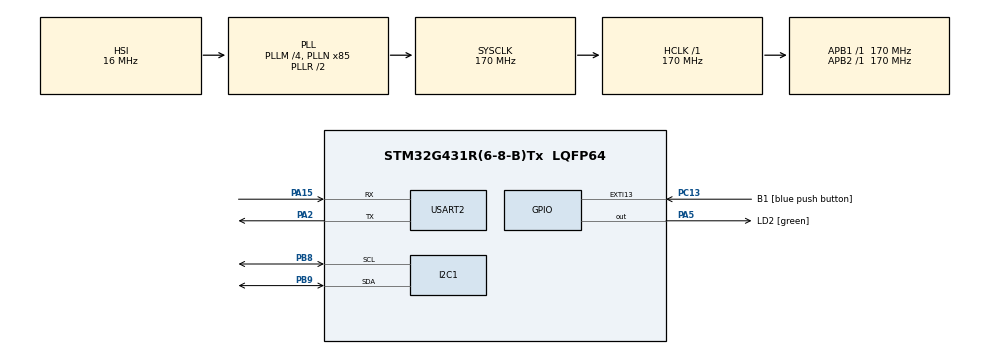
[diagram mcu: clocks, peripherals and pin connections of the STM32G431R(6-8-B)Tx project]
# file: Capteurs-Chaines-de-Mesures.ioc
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FREERTOS.Tasks01=defaultTask,0,128,StartDefaultTask,Default,NULL,Dynamic,NULL,NULL
I2C1.Timing=0x30A0A7FB
Mcu.Family=STM32G4
Mcu.Name=STM32G431R(6-8-B)Tx
Mcu.Package=LQFP64
NVIC.PriorityGroup=NVIC_PRIORITYGROUP_4
PA13.GPIO_Label=T_SWDIO
PA13.Signal=SYS_JTMS-SWDIO
PA14.GPIO_Label=T_SWCLK
PA14.Signal=SYS_JTCK-SWCLK
PA15.Mode=Asynchronous
PA15.Signal=USART2_RX
PA2.Mode=Asynchronous
PA2.Signal=USART2_TX
PA3.GPIO_Label=LPUART1_RX [STLINKV3E_VCP_TX]
PA3.Signal=LPUART1_RX
PA5.GPIO_Label=LD2 [green]
PA5.Signal=GPIO_Output
PB3.GPIO_Label=T_SWO
PB3.Signal=SYS_JTDO-SWO
PB8-BOOT0.Mode=I2C
PB8-BOOT0.Signal=I2C1_SCL
PB9.Mode=I2C
PB9.Signal=I2C1_SDA
PC13.GPIO_Label=B1 [blue push button]
PC13.Signal=GPXTI13
PC14-OSC32_IN.Signal=RCC_OSC32_IN
PC15-OSC32_OUT.Signal=RCC_OSC32_OUT
PF0-OSC_IN.Signal=RCC_OSC_IN
PF1-OSC_OUT.Signal=RCC_OSC_OUT
ProjectManager.HeapSize=0x200
ProjectManager.StackSize=0x400
ProjectManager.TargetToolchain=STM32CubeIDE
RCC.ADC12Freq_Value=170000000
RCC.AHBFreq_Value=170000000
RCC.APB1Freq_Value=170000000
RCC.APB1TimFreq_Value=170000000
RCC.APB2Freq_Value=170000000
RCC.APB2TimFreq_Value=170000000
RCC.CortexFreq_Value=170000000
RCC.EXTERNAL_CLOCK_VALUE=12288000
RCC.HCLKFreq_Value=170000000
RCC.HSE_VALUE=24000000
RCC.HSI48_VALUE=48000000
RCC.HSI_VALUE=16000000
RCC.LSE_VALUE=32768
RCC.PLLM=RCC_PLLM_DIV4
RCC.PLLN=85
RCC.RTCClockSelection=RCC_RTCCLKSOURCE_LSE
RCC.SYSCLKFreq_VALUE=170000000
RCC.SYSCLKSource=RCC_SYSCLKSOURCE_PLLCLK
RCC.USBFreq_Value=170000000
RCC.VCOOutputFreq_Value=340000000
USART2.VirtualMode-Asynchronous=VM_ASYNC
VP_FREERTOS_VS_CMSIS_V1.Mode=CMSIS_V1
VP_SYS_VS_DBSignals.Mode=DisableDeadBatterySignals
board=NUCLEO-G431RB

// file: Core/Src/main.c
/* USER CODE BEGIN Header */
/**
  ******************************************************************************
  * @file           : main.c
  * @brief          : Main program body
  ******************************************************************************
  * @attention
  *
  * <h2><center>&copy; Copyright (c) 2021 STMicroelectronics.
  * All rights reserved.</center></h2>
  *
  * This software component is licensed by ST under Ultimate Liberty license
  * SLA0044, the "License"; You may not use this file except in compliance with
  * the License. You may obtain a copy of the License at:
  *                             www.st.com/SLA0044
  *
  ******************************************************************************
  */
/* USER CODE END Header */
#include "main.h"
#include "cmsis_os.h"
#include "i2c.h"
#include "usart.h"
#include "gpio.h"
#include "function.h"
#include "math.h"

/* USER CODE BEGIN Includes */

//#include "../../Drivers/BSP/inc/stm32746g_discovery_lcd.h"
#include "stdio.h"
#include <math.h>
#include "Const.h"

/* USER CODE END Includes */

/* USER CODE BEGIN PD */
#define AdressBMP 0xee
/* USER CODE END PD */

/* USER CODE BEGIN PV */
//!< Variables
char mess[30];
double Temp = 0;
double AccelX = 0;
double AccelY = 0;
double AccelZ = 0;
double GyroX = 0;
double GyroY = 0;
double GyroZ = 0;
double MagnetoX = 0;
double MagnetoY = 0;
double MagnetoZ = 0;
/* USER CODE END PV */

void SystemClock_Config(void);
void MX_FREERTOS_Init(void);

/* USER CODE BEGIN 0 */
//!<fonction de transmission UART lors de l'utilisation de "printf"
int __io_putchar(int ch) {
	HAL_UART_Transmit(&huart2, (uint8_t *)&ch, 1, HAL_MAX_DELAY);
return ch;
}
/* USER CODE END 0 */

int main(void)
{

  /* MCU Configuration--------------------------------------------------------*/

  /* Reset of all peripherals, Initializes the Flash interface and the Systick. */
  HAL_Init();

  /* Configure the system clock */
  SystemClock_Config();

  /* Initialize all configured peripherals */
  MX_GPIO_Init();
  MX_I2C1_Init();
  MX_USART2_UART_Init();
  /* USER CODE BEGIN 2 */
  	HAL_GPIO_WritePin(GPIOA,GPIO_PIN_5,GPIO_PIN_SET);
    HAL_Delay(2000);
    HAL_GPIO_WritePin(GPIOA,GPIO_PIN_5,GPIO_PIN_RESET);

    InitCapteur(&hi2c1);

    /*Test écran LCD*/
    /*
    BSP_LCD_DisplayStringAt(0, LINE(1), (uint8_t *)"CAPTEURS", CENTER_MODE);
    BSP_LCD_DisplayStringAt(0, LINE(2), (uint8_t *)"TP", CENTER_MODE);
    BSP_LCD_DisplayStringAt(0, LINE(3), (uint8_t *)"2019/2020", CENTER_MODE);
    BSP_LCD_DisplayStringAt(0, LINE(4), (uint8_t *)"MSC !", CENTER_MODE);

    sprintf(mess,"Pi = %1.4f",PI);
    BSP_LCD_DisplayStringAt(0, LINE(5), (uint8_t *)mess,CENTER_MODE);
    HAL_Delay(1000);
    BSP_LCD_Clear(LCD_COLOR_WHITE);
    */
    // Go through all possible i2c addresses

    /**
     * Scan du BUS I2C
     * Renvoie les adresses disponibles sur la console UART
     */
	printf("\r\n");
	printf("\r\n");
    printf("-- Test des adresses disponibles --\r\n");
    	for (uint8_t i = 0; i < 128; i++) {
    	  if (HAL_I2C_IsDeviceReady(&hi2c1, (uint16_t)(i<<1), 3, 5) == HAL_OK) {
    		  printf("%2x ", i);
    	  } else {
    		  printf("-- ");
    	  }
    	  if (i > 0 && (i + 1) % 16 == 0) printf("\n\r");
      }

      printf("\n\r");

      /**
       * Requete d'identification du capteur gyroscopique
       */
      printf("-- Test de l'identite du capteur MPU-9250 --\r\n");
      uint8_t data[48];
      data[0]=0x75;
      printf("Registre d'identification : %x\r\n",data[0]);
      if(HAL_I2C_Master_Transmit(&hi2c1,MPU_ADD, data, 1, HAL_MAX_DELAY) != HAL_OK){
    	  Error_Handler();
      }
      if(HAL_I2C_Master_Receive(&hi2c1,MPU_ADD, data, 1, HAL_MAX_DELAY) != HAL_OK){
    	  Error_Handler();
      }
      printf("Valeur recu : %x\r\n",data[0]);
      if (data[0]!=0x71){
    	  printf("Error !\r\n");
    	  Error_Handler();
      }
      else{
    	  printf("Ok !\r\n");
      }

      /**
       * Requete d'identification du capteur temperature/pression
       */
      printf("\r\n");
      printf("-- Test de l'identite du capteur BPM-280 --\r\n");
      data[0]=0xd0;
      printf("Registre d'identification : %x\r\n",data[0]);
      if(HAL_I2C_Master_Transmit(&hi2c1,AdressBMP, data, 1, HAL_MAX_DELAY) != HAL_OK){
    	  Error_Handler();
      }
      if(HAL_I2C_Master_Receive(&hi2c1,AdressBMP, data, 1, HAL_MAX_DELAY) != HAL_OK){
    	  Error_Handler();
      }
      printf("Valeur recu : %x\r\n",data[0]);
      if (data[0]!=0x58){
    	  printf("Error !\r\n");
    	  Error_Handler();
      }
      else{
    	  printf("Ok !\r\n");
      }

      /**
       * Mesure cyclique de la temperature et de l'acceleration
       * La mesure se fait toutes les secondes
       * Les fonctions de mesures sont ecrites dans le fichier function.c
       */
      while (1)
      {
    	/***** Température *****/
      	Measure_T(&hi2c1,&Temp);
        printf("Temperature : %f\r\n",&Temp);
        printf("\r\n");

    	/***** Accélération *****/

    	/* sensi 4 g */
    	/*data[0]=ACCEL_CONFIG;
    	data[1]=0b00001000;
    	HAL_I2C_Master_Transmit(&hi2c1,MPU_ADD, data, 2, HAL_MAX_DELAY);*/

    	AccelOffSet();
    	Measure_AX(&hi2c1,&AccelX);
        printf("AX %f m.s^-2\r\n",&AccelX);
    	Measure_AY(&hi2c1,&AccelY);
        printf("AY %f m.s^-2\r\n",&AccelY);
    	Measure_AZ(&hi2c1,&AccelZ);
        printf("AZ %f m.s^-2\r\n",&AccelZ);
		float Norme = sqrt((AccelX*AccelX)+(AccelY*AccelY)+(AccelZ*AccelZ));
		printf("Norme = %f \r\n",Norme);
        printf("\r\n");
        HAL_Delay(500);

    	/****** Gyroscope *****/

      	Measure_GX(&hi2c1,&GyroX);
        printf("GX %f deg/s\r\n",&GyroX);
      	Measure_GY(&hi2c1,&GyroY);
        printf("GY %f deg/s\r\n",&GyroY);
      	Measure_GZ(&hi2c1,&GyroZ);
        printf("GZ %f deg/s\r\n",&GyroZ);
        printf("\r\n");
        HAL_Delay(500);

    	/******	Magnetometre ******/

    	/* Test WIA*/

    	/*
    	data[0]=0x00;
  		if(HAL_I2C_Master_Transmit(&hi2c1,MAGNETO_ADD, data, 1, HAL_MAX_DELAY) != HAL_OK){
  	    	  	  Error_Handler();
  			  }
  		if(HAL_I2C_Master_Receive(&hi2c1,MAGNETO_ADD, data, 1, HAL_MAX_DELAY) != HAL_OK){
  		    	  Error_Handler();
  		      }
  		printf("data %x",data[0]);
        printf("\r\n");
        */

      	Measure_MX(&hi2c1,&MagnetoX);
        printf("MX %f µT \r\n",&MagnetoX);
      	Measure_MY(&hi2c1,&MagnetoY);
        printf("MY %f µT \r\n",&MagnetoY);
      	Measure_MZ(&hi2c1,&MagnetoZ);
        printf("MZ %f µT \r\n",&MagnetoZ);
        float norme = sqrt(((MagnetoX*MagnetoX)+(MagnetoY*MagnetoY)+(MagnetoZ*MagnetoZ)));
        printf("Norme = %f µT\r\n",norme);
        printf("\r\n");
    	HAL_Delay(500);

      }
  /* USER CODE END 2 */

  /* Call init function for freertos objects (in freertos.c) */
  MX_FREERTOS_Init();

  /* Start scheduler */
  osKernelStart();

  /* We should never get here as control is now taken by the scheduler */
  /* Infinite loop */
  while (1)
  {

  }
}

void SystemClock_Config(void)
{
  RCC_OscInitTypeDef RCC_OscInitStruct = {0};
  RCC_ClkInitTypeDef RCC_ClkInitStruct = {0};

  /** Configure the main internal regulator output voltage
  */
  HAL_PWREx_ControlVoltageScaling(PWR_REGULATOR_VOLTAGE_SCALE1_BOOST);

  /** Initializes the RCC Oscillators according to the specified parameters
  * in the RCC_OscInitTypeDef structure.
  */
  RCC_OscInitStruct.OscillatorType = RCC_OSCILLATORTYPE_HSI;
  RCC_OscInitStruct.HSIState = RCC_HSI_ON;
  RCC_OscInitStruct.HSICalibrationValue = RCC_HSICALIBRATION_DEFAULT;
  RCC_OscInitStruct.PLL.PLLState = RCC_PLL_ON;
  RCC_OscInitStruct.PLL.PLLSource = RCC_PLLSOURCE_HSI;
  RCC_OscInitStruct.PLL.PLLM = RCC_PLLM_DIV4;
  RCC_OscInitStruct.PLL.PLLN = 85;
  RCC_OscInitStruct.PLL.PLLP = RCC_PLLP_DIV2;
  RCC_OscInitStruct.PLL.PLLQ = RCC_PLLQ_DIV2;
  RCC_OscInitStruct.PLL.PLLR = RCC_PLLR_DIV2;
  if (HAL_RCC_OscConfig(&RCC_OscInitStruct) != HAL_OK)
  {
    Error_Handler();
  }

  /** Initializes the CPU, AHB and APB buses clocks
  */
  RCC_ClkInitStruct.ClockType = RCC_CLOCKTYPE_HCLK|RCC_CLOCKTYPE_SYSCLK
                              |RCC_CLOCKTYPE_PCLK1|RCC_CLOCKTYPE_PCLK2;
  RCC_ClkInitStruct.SYSCLKSource = RCC_SYSCLKSOURCE_PLLCLK;
  RCC_ClkInitStruct.AHBCLKDivider = RCC_SYSCLK_DIV1;
  RCC_ClkInitStruct.APB1CLKDivider = RCC_HCLK_DIV1;
  RCC_ClkInitStruct.APB2CLKDivider = RCC_HCLK_DIV1;

  if (HAL_RCC_ClockConfig(&RCC_ClkInitStruct, FLASH_LATENCY_4) != HAL_OK)
  {
    Error_Handler();
  }
}

void Error_Handler(void)
{
  /* USER CODE BEGIN Error_Handler_Debug */
  /* User can add his own implementation to report the HAL error return state */
	printf("Une erreur est survenue ! Arret du programme\r\n");
	while(1){
		HAL_GPIO_WritePin(GPIOA,GPIO_PIN_5,GPIO_PIN_SET);
	    HAL_Delay(200);
	    HAL_GPIO_WritePin(GPIOA,GPIO_PIN_5,GPIO_PIN_RESET);
	    HAL_Delay(200);
	}

  /* USER CODE END Error_Handler_Debug */
}
